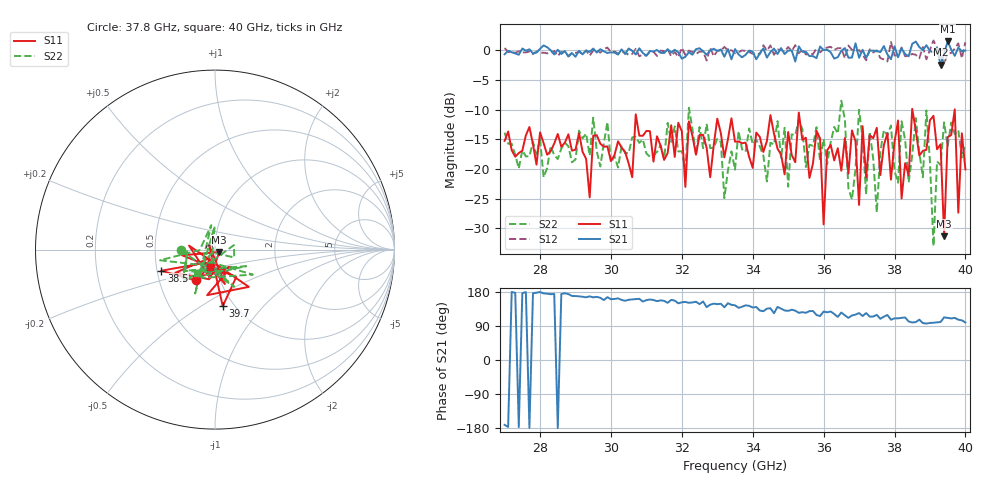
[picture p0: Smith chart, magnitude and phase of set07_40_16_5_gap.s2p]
! Quiescent point : V1=-1.64089E-02 I1=+1.29697E-03 V2=-2.23221E-02 I2=-1.30330E-03
! Pulsed point : V1=-1.65931E-02 I1=+1.31541E-03 V2=-2.19273E-02 I2=-1.30310E-03
! Period : +2.00000E-04
! Input Supply timing : delay=+1.60000E-06 width=+2.20000E-06
! Output Supply timing : delay=+1.70000E-06 width=+2.00000E-06
! VNA timing : delay=+2.40000E-06 width=+1.10000E-06
# Hz S RI R 50
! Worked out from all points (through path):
!   131 points, 27 GHz to 40 GHz, reference 50 ohm
!   highest |S21| = 1.54 dB at 39.5 GHz (marker M1); lowest = -2.4 dB at 39.3 GHz (marker M2)
!   group delay of S21, straight-line fit = 18.2 ps
!   lowest |S11| = -31.3 dB at 39.4 GHz (marker M3), VSWR 1.06, Z = 52.4 - j1.38 ohm
!   |S11| at or under -10 dB: start of sweep to 38.5 GHz; 38.5 GHz to 39.7 GHz (1.195 GHz wide, 3.06 % of centre); 39.7 GHz to end of sweep
!   |S22| runs from -33.0 to -8.5 dB; largest |S21 - S12| = 0.39
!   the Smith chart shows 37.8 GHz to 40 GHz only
!   S11 on the Smith chart (normalised r, x): 37.8 GHz: 0.76, -0.27; 38.5 GHz: 0.53, -0.14; 39.7 GHz: 0.89, -0.62; 40 GHz: 0.93, -0.18
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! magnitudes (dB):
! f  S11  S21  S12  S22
! 27 GHz  -15.3  -0.7  0.4  -13.9
! 29.2 GHz  -17.1  -0.7  -0.7  -14.8
! 31.4 GHz  -16.1  -0.4  0.0  -16.0
! 33.5 GHz  -15.4  0.2  -0.5  -20.1
! 35.7 GHz  -19.1  -1.0  -0.6  -16.1
! 36 GHz  -29.3  0.0  0.2  -15.0
! 36.5 GHz  -20.3  -0.1  0.4  -8.5
! 36.8 GHz  -13.5  -1.2  0.1  -25.2
! 37 GHz  -26.1  -1.3  0.0  -10.0
! 37.1 GHz  -12.8  0.1  -0.7  -14.8
! 37.5 GHz  -13.1  -0.1  0.0  -27.3
! 37.8 GHz  -14.0  -0.7  -1.9  -14.3
! 37.9 GHz  -21.8  -1.5  1.4  -12.7
! 38.5 GHz  -9.9  1.1  -0.6  -17.6
! 38.9 GHz  -16.8  0.9  -1.5  -10.1
! 39.1 GHz  -11.0  -0.4  1.7  -33.0
! 39.3 GHz  -15.8  -2.4  -1.0  -19.3
! 39.4 GHz  -31.3  -0.6  -2.2  -12.1
! 39.5 GHz  -14.6  1.5  -0.6  -16.2
! 39.7 GHz  -9.9  -0.9  0.3  -14.1
! 39.8 GHz  -27.4  0.5  1.2  -13.5
! 40 GHz  -20.1  0.0  1.4  -15.8
